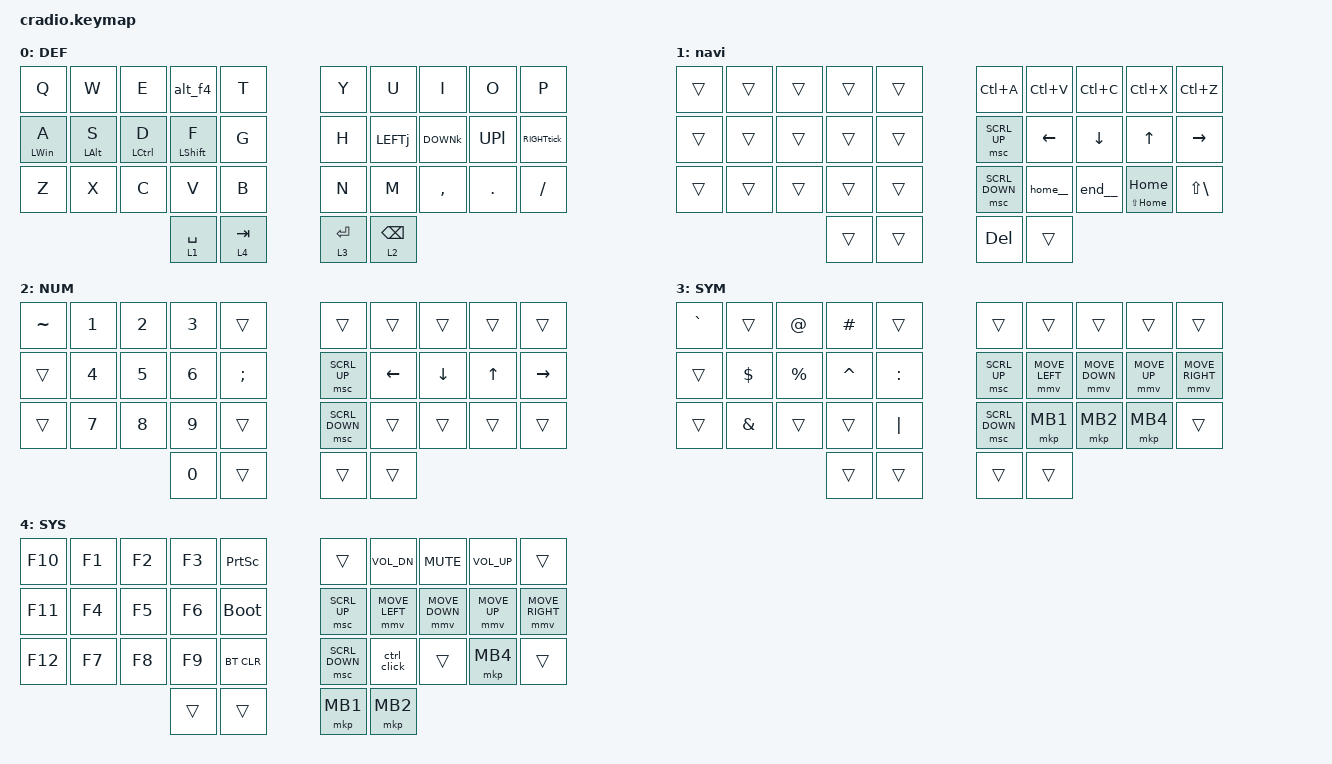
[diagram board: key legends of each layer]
#include <behaviors.dtsi>
#include <dt-bindings/zmk/bt.h>
#include <dt-bindings/zmk/keys.h>
#include <dt-bindings/zmk/pointing.h>

/ {
    behaviors {
        s_left: s_left {
            compatible = "zmk,behavior-hold-tap";
            label = "s_left";
            bindings = <&kp>, <&kp>;

            #binding-cells = <2>;
            tapping-term-ms = <170>;
            quick-tap-ms = <150>;
            flavor = "tap-preferred";
            hold-trigger-key-positions = <5 6 7 8 9 15 16 17 18 19 26 27 28 29 30 31 37 36 35>;
            hold-trigger-on-release;
        };

        amrwin: amrwin {
            compatible = "zmk,behavior-hold-tap";
            label = "AMR";
            bindings = <&kp>, <&kp>;

            #binding-cells = <2>;
            tapping-term-ms = <200>;
            quick-tap-ms = <150>;
            flavor = "tap-preferred";
            hold-trigger-on-release;
            hold-trigger-key-positions = <37 36 35>;
        };

        home__: home__ {
            compatible = "zmk,behavior-tap-dance";
            label = "HOME__";
            #binding-cells = <0>;
            bindings = <&mt PAGE_UP HOME>, <&kp LS(HOME)>;
        };

        end__: end__ {
            compatible = "zmk,behavior-tap-dance";
            label = "END__";
            #binding-cells = <0>;
            bindings = <&mt PAGE_DOWN END>, <&kp LS(END)>;
        };

        s_right: s_right {
            compatible = "zmk,behavior-hold-tap";
            label = "S_RIGHT";
            bindings = <&kp>, <&kp>;

            #binding-cells = <2>;
            tapping-term-ms = <170>;
            quick-tap-ms = <150>;
            flavor = "balanced";
            hold-trigger-on-release;
            hold-trigger-key-positions = <0 2 1 4 3 0 1 2 3 4 10 11 12 13 14 20 21 22 23 24 25 32 33 34>;
        };

        aml: aml {
            compatible = "zmk,behavior-hold-tap";
            label = "AML";
            bindings = <&kp>, <&kp>;

            #binding-cells = <2>;
            tapping-term-ms = <200>;
            quick-tap-ms = <150>;
            flavor = "tap-preferred";
            hold-trigger-on-release;
            hold-trigger-key-positions = <32 33 34>;
        };

        alt_f4: alt_f4 {
            compatible = "zmk,behavior-mod-morph";
            label = "ALT_F4";
            bindings = <&kp R>, <&kp F4>;

            #binding-cells = <0>;
            mods = <(MOD_LALT)>;
            keep-mods = <(MOD_LALT)>;
        };

        LEFTj: LEFTj {
            compatible = "zmk,behavior-mod-morph";
            label = "LEFTJ";
            bindings = <&s_right LEFT_SHIFT J>, <&kp LEFT>;

            #binding-cells = <0>;
            mods = <(MOD_LGUI|MOD_LALT)>;
            keep-mods = <(MOD_LGUI|MOD_LALT)>;
        };

        DOWNk: DOWNk {
            compatible = "zmk,behavior-mod-morph";
            label = "DOWNK";
            bindings = <&amrwin LCTRL K>, <&kp DOWN>;

            #binding-cells = <0>;
            mods = <(MOD_LGUI)>;
            keep-mods = <(MOD_LGUI)>;
        };

        RIGHTtick: RIGHTtick {
            compatible = "zmk,behavior-mod-morph";
            label = "RIGHTTICK";
            bindings = <&amrwin LEFT_WIN SQT>, <&kp RIGHT>;

            #binding-cells = <0>;
            mods = <(MOD_LGUI|MOD_LALT)>;
            keep-mods = <(MOD_LGUI|MOD_LALT)>;
        };

        UPl: UPl {
            compatible = "zmk,behavior-mod-morph";
            label = "UPL";
            bindings = <&amrwin LEFT_ALT L>, <&kp UP_ARROW>;

            #binding-cells = <0>;
            mods = <(MOD_LGUI)>;
            keep-mods = <(MOD_LGUI)>;
        };

        backspace: backspace {
            compatible = "zmk,behavior-hold-tap";
            label = "BACKSPACE";
            bindings = <&mo>, <&kp>;

            #binding-cells = <2>;
            quick-tap-ms = <190>;
            tapping-term-ms = <200>;
            flavor = "balanced";
        };

        amlwin: amlwin {
            compatible = "zmk,behavior-hold-tap";
            label = "AMLWIN";
            bindings = <&kp>, <&kp>;

            #binding-cells = <2>;
            tapping-term-ms = <200>;
            quick-tap-ms = <200>;
            require-prior-idle-ms = <200>;
            flavor = "tap-preferred";
            hold-trigger-on-release;
            hold-trigger-key-positions = <32 33 34>;
        };
    };

    combos {
        compatible = "zmk,combos";

        paren_l {
            bindings = <&kp LEFT_PARENTHESIS>;
            key-positions = <11 12>;
        };

        parent_r {
            bindings = <&kp RIGHT_PARENTHESIS>;
            key-positions = <12 13>;
        };

        leftbrace {
            bindings = <&kp LEFT_BRACE>;
            key-positions = <1 2>;
        };

        rightbrace {
            bindings = <&kp RIGHT_BRACE>;
            key-positions = <2 3>;
        };

        leftbraket {
            bindings = <&kp LEFT_BRACKET>;
            key-positions = <22 21>;
        };

        rightbraket {
            bindings = <&kp RIGHT_BRACKET>;
            key-positions = <23 22>;
        };

        underb {
            bindings = <&kp UNDERSCORE>;
            key-positions = <17 18>;
        };

        equal {
            bindings = <&kp EQUAL>;
            key-positions = <18 19>;
        };

        minus {
            bindings = <&kp MINUS>;
            key-positions = <6 7>;
        };

        plus {
            bindings = <&kp PLUS>;
            key-positions = <13 14>;
        };

        multi {
            bindings = <&kp ASTERISK>;
            key-positions = <24 23>;
        };

        excl {
            bindings = <&kp EXCLAMATION>;
            key-positions = <11 10>;
        };

        del {
            bindings = <&kp DEL>;
            key-positions = <2 13>;
        };

        capslock {
            bindings = <&kp CAPSLOCK>;
            key-positions = <13 16 12 17>;
        };

        return {
            bindings = <&kp ENTER>;
            key-positions = <31 3>;
        };

        ralt {
            bindings = <&kp RALT>;
            key-positions = <17 16>;
        };

        esc {
            bindings = <&kp ESCAPE>;
            key-positions = <1 0>;
        };
    };

    macros {
        ctrl_click: ctrl_click {
            compatible = "zmk,behavior-macro";
            #binding-cells = <0>;
            bindings =
                <&macro_press>,
                <&kp LCTRL>,
                <&macro_tap>,
                <&mkp MB1>,
                <&macro_release>,
                <&kp LCTRL>;

            label = "CTRL_CLICK";
        };
    };

    keymap {
        compatible = "zmk,keymap";

        DEF {
            bindings = <
&kp Q            &kp W            &kp E         &alt_f4               &kp T        &kp Y        &kp U                   &kp I      &kp O    &kp P
&aml LEFT_WIN A  &aml LEFT_ALT S  &aml LCTRL D  &s_left LEFT_SHIFT F  &kp G        &kp H        &LEFTj                  &DOWNk     &UPl     &RIGHTtick
&kp Z            &kp X            &kp C         &kp V                 &kp B        &kp N        &kp M                   &kp COMMA  &kp DOT  &kp FSLH
                                                &lt 1 SPACE           &lt 4 TAB    &lt 3 ENTER  &backspace 2 BACKSPACE
            >;
        };

        navi {
            bindings = <
&trans  &trans  &trans  &trans  &trans    &kp LC(A)       &kp LC(V)  &kp LC(C)       &kp LC(X)          &kp LC(Z)
&trans  &trans  &trans  &trans  &trans    &msc SCRL_UP    &kp LEFT   &kp DOWN_ARROW  &kp UP_ARROW       &kp RIGHT
&trans  &trans  &trans  &trans  &trans    &msc SCRL_DOWN  &home__    &end__          &mt LS(HOME) HOME  &kp LS(BACKSLASH)
                        &trans  &trans    &kp DEL         &trans
            >;
        };

        NUM {
            bindings = <
&kp TILDE  &kp N1  &kp N2  &kp N3  &trans           &trans          &trans    &trans    &trans        &trans
&trans     &kp N4  &kp N5  &kp N6  &kp SEMICOLON    &msc SCRL_UP    &kp LEFT  &kp DOWN  &kp UP_ARROW  &kp RIGHT
&trans     &kp N7  &kp N8  &kp N9  &trans           &msc SCRL_DOWN  &trans    &trans    &trans        &trans
                           &kp N0  &trans           &trans          &trans
            >;
        };

        SYM {
            bindings = <
&kp GRAVE  &trans         &kp AT_SIGN  &kp HASH   &trans       &trans          &trans          &trans          &trans        &trans
&trans     &kp DOLLAR     &kp PERCENT  &kp CARET  &kp COLON    &msc SCRL_UP    &mmv MOVE_LEFT  &mmv MOVE_DOWN  &mmv MOVE_UP  &mmv MOVE_RIGHT
&trans     &kp AMPERSAND  &trans       &trans     &kp PIPE     &msc SCRL_DOWN  &mkp MB1        &mkp MB2        &mkp MB4      &trans
                                       &trans     &trans       &trans          &trans
            >;
        };

        SYS {
            bindings = <
&kp F10  &kp F1  &kp F2  &kp F3  &kp PRINTSCREEN    &trans          &kp C_VOL_DN    &kp C_MUTE      &kp C_VOLUME_UP  &trans
&kp F11  &kp F4  &kp F5  &kp F6  &bootloader        &msc SCRL_UP    &mmv MOVE_LEFT  &mmv MOVE_DOWN  &mmv MOVE_UP     &mmv MOVE_RIGHT
&kp F12  &kp F7  &kp F8  &kp F9  &bt BT_CLR         &msc SCRL_DOWN  &ctrl_click     &trans          &mkp MB4         &trans
                         &trans  &trans             &mkp MB1        &mkp MB2
            >;
        };
    };
};
